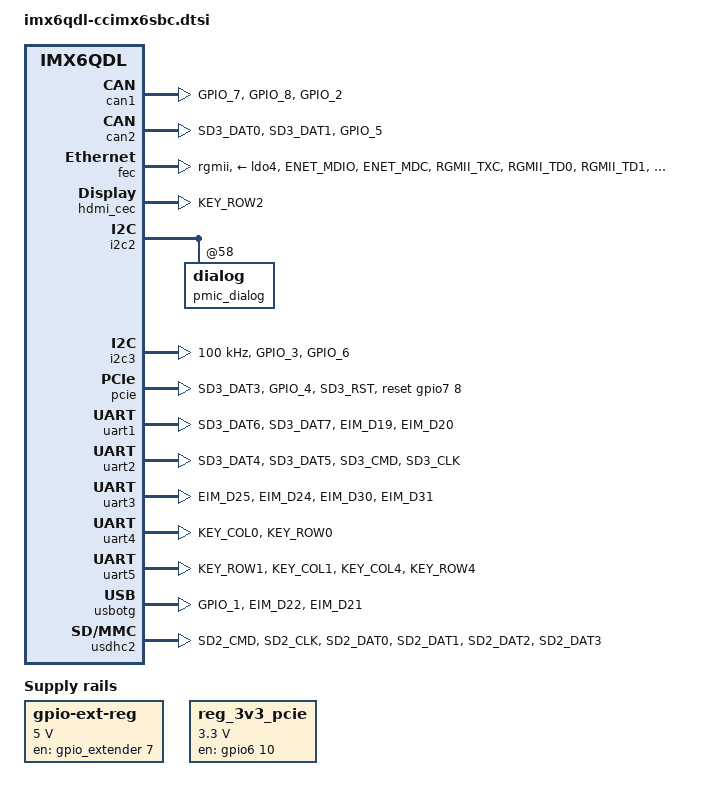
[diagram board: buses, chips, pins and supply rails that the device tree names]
/*
 * Copyright 2014 Digi International, Inc.
 *
 * The code contained herein is licensed under the GNU General Public
 * License. You may obtain a copy of the GNU General Public License
 * Version 2 or later at the following locations:
 *
 * http://www.opensource.org/licenses/gpl-license.html
 * http://www.gnu.org/copyleft/gpl.html
 */

/ {
	5v_reg {
		compatible = "regulator-fixed";
		gpio = <&gpio_extender 7 0>;
		regulator-name = "gpio-ext-reg";
		regulator-always-on;
		enable-active-high;
		regulator-min-microvolt = <5000000>;
		regulator-max-microvolt = <5000000>;
	};

	/* SGTL5000 codec is powered by 3V3 BUCK_PERI, but controlled
	 * by GPIO2_25 via a FET transistor
	 */
	codec_power: fixedregulator@0 {
		compatible = "regulator-fixed";
		regulator-name = "aud_pwr_en";
		regulator-min-microvolt = <3300000>;
		regulator-max-microvolt = <3300000>;
		gpio = <&gpio2 25 GPIO_ACTIVE_HIGH>;
		enable-active-high;
		vin-supply = <&bperi>;
		pinctrl-names = "default";
		pinctrl-0 = <&pinctrl_aud_pwr_en>;
		status = "disabled";
		regulator-state-mem {
			regulator-off-in-suspend;
		};
		regulator-state-disk {
			regulator-off-in-suspend;
		};
	};

	/* Parallel display */
	lcd: display@di0 {
		compatible = "fsl,lcd";
		ipu_id = <0>;
		disp_id = <0>;
		default_ifmt = "RGB666";
		pinctrl-names = "default";
		pinctrl-0 = <&pinctrl_ipu1_di0>, <&pinctrl_disp0_gpios>;
		status = "disabled";
	};

	mipi_dsi_reset: mipi-dsi-reset {
		compatible = "gpio-reset";
		reset-gpios = <&gpio6 11 GPIO_ACTIVE_LOW>;
		reset-delay-us = <50>;
		#reset-cells = <0>;
		status = "disabled";
	};

	mxcfb1: fb@0 {
		compatible = "fsl,mxc_sdc_fb";
		disp_dev = "hdmi";
		interface_pix_fmt = "RGB666";
		mode_str ="1920x1080M@60";
		default_bpp = <16>;
		int_clk = <0>;
		late_init = <0>;
		status = "disabled";
	};

	mxcfb2: fb@1 {
		compatible = "fsl,mxc_sdc_fb";
		disp_dev = "ldb";
		interface_pix_fmt = "RGB666";
		default_bpp = <16>;
		int_clk = <0>;
		late_init = <0>;
		status = "disabled";
	};

	reg_3v3_pcie: fixedregulator@1 {
		compatible = "regulator-fixed";
		pinctrl-names = "default";
		pinctrl-0 = <&pinctrl_pcie_reg>;
		regulator-name = "PCIe_VCC";
		regulator-always-on;
		startup-delay-us = <100000>;
		regulator-min-microvolt = <3300000>;
		regulator-max-microvolt = <3300000>;
		gpio = <&gpio6 10 GPIO_ACTIVE_HIGH>;
		enable-active-high;
		status = "okay";
	};

	sound_sgtl5000: sound-sgtl5000 {
		compatible = "fsl,imx-audio-sgtl5000";
		model = "sgtl5000-audio";
		ssi-controller = <&ssi2>;
		audio-codec = <&sgtl5000>;
		audio-routing =
			"MIC_IN", "Mic Jack",
			"Mic Jack", "Mic Bias",
			"Headphone Jack", "HP_OUT";
		mux-int-port = <2>;
		mux-ext-port = <3>;
		hp-det-gpios = <&gpio2 0 GPIO_ACTIVE_HIGH>;
		hp-det-debounce = <250>;
		status = "disabled";
	};

	sound_hdmi: sound-hdmi {
		compatible = "fsl,imx6q-audio-hdmi",
			     "fsl,imx-audio-hdmi";
		model = "imx-audio-hdmi";
		hdmi-controller = <&hdmi_audio>;
		status = "disabled";
	};

	v4l2_cap_0: v4l2-cap@0 {
		compatible = "fsl,imx6q-v4l2-capture";
		mclk_source = <0>;
		status = "disabled";
	};

	v4l2_cap_1: v4l2-cap@1 {
		compatible = "fsl,imx6q-v4l2-capture";
		mclk_source = <0>;
		status = "disabled";
	};

	v4l2_out: v4l2-out {
		compatible = "fsl,mxc_v4l2_output";
		status = "disabled";
	};
};

&audmux {
	pinctrl-names = "default";
	pinctrl-0 = <&pinctrl_audmux>;
};

&can1 {
	pinctrl-names = "default";
	pinctrl-0 = <&pinctrl_flexcan1>;
	stby-gpios = <&gpio1 2 GPIO_ACTIVE_HIGH>;
};

&can2 {
	pinctrl-names = "default";
	pinctrl-0 = <&pinctrl_flexcan2>;
	stby-gpios = <&gpio1 5 GPIO_ACTIVE_HIGH>;
};

&clks {
	assigned-clocks = <&clks IMX6QDL_CLK_LDB_DI0_SEL>,
			  <&clks IMX6QDL_CLK_LDB_DI1_SEL>;
	assigned-clock-parents = <&clks IMX6QDL_CLK_PLL5_VIDEO_DIV>,
				 <&clks IMX6QDL_CLK_PLL5_VIDEO_DIV>;
	assigned-clock-rates = <0>, <0>;
};

&ecspi1 {
	fsl,spi-num-chipselects = <2>;
	cs-gpios = <&gpio2 30 GPIO_ACTIVE_HIGH>,<&gpio4 10 GPIO_ACTIVE_HIGH>;
	pinctrl-names = "default";
	pinctrl-0 = <&pinctrl_ecspi1>;
	status = "disabled";
};

/* 10/100/1000 KSZ9031 PHY */
&fec {
	pinctrl-names = "default";
	pinctrl-0 = <&pinctrl_enet>;
	phy-mode = "rgmii";
	phy-reset-gpios = <&gpio1 25 GPIO_ACTIVE_HIGH>;
	phy-reset-duration = <10>;
	phy-reset-wait = <1>;
	phy-supply = <&ldo4>;
	fsl,magic-packet;
};

&gpc {
	fsl,cpu_pupscr_sw2iso = <0xf>;
	fsl,cpu_pupscr_sw = <0xf>;
	fsl,cpu_pdnscr_iso2sw = <0x1>;
	fsl,cpu_pdnscr_iso = <0x1>;
	fsl,ldo-bypass = <0>; /* No ldo-bypass */
	fsl,wdog-reset = <1>; /* watchdog select of reset source */
	pu-supply = <&reg_pu>;
};

&hdmi_cec {
	pinctrl-names = "default";
	pinctrl-0 = <&pinctrl_hdmi_cec>;
};

&hdmi_core {
	ipu_id = <0>;
	disp_id = <1>;
};

&hdmi_video {
	fsl,phy_reg_vlev = <0x0294>;
	fsl,phy_reg_cksymtx = <0x800d>;
};

&ldb {
	lvds-channel@0 {
		fsl,data-mapping = "spwg";
		fsl,data-width = <18>;

		display-timings {
			native-mode = <&g101evn010_1>;

			/* Fusion 10" F10A-0102 */
			hsd101pfw2_1: timing@0 {
				clock-frequency = <45000000>;
				hactive = <1024>;
				vactive = <600>;
				hfront-porch = <0>;
				hback-porch = <0>;
				hsync-len = <176>;
				vback-porch = <0>;
				vfront-porch = <0>;
				vsync-len = <25>;
			};

			/* AUO G101EVN01.0 */
			g101evn010_1: timing@1 {
				clock-frequency = <68930000>;
				hactive = <1280>;
				vactive = <800>;
				hfront-porch = <120>;
				hback-porch = <0>;
				hsync-len = <8>;
				vback-porch = <10>;
				vfront-porch = <0>;
				vsync-len = <6>;
				hsync-active = <1>;
				vsync-active = <1>;
				de-active = <1>;
				pixelclk-active = <0>;
			};
		};
	};
	lvds-channel@1 {
		fsl,data-mapping = "spwg";
		fsl,data-width = <18>;

		display-timings {
			native-mode = <&g101evn010_2>;

			/* Fusion 10" F10A-0102 */
			hsd101pfw2_2: timing@0 {
				clock-frequency = <45000000>;
				hactive = <1024>;
				vactive = <600>;
				hfront-porch = <0>;
				hback-porch = <0>;
				hsync-len = <176>;
				vback-porch = <0>;
				vfront-porch = <2>;
				vsync-len = <23>;
			};

			/* AUO G101EVN01.0 */
			g101evn010_2: timing@1 {
				clock-frequency = <68930000>;
				hactive = <1280>;
				vactive = <800>;
				hfront-porch = <120>;
				hback-porch = <0>;
				hsync-len = <8>;
				vback-porch = <10>;
				vfront-porch = <0>;
				vsync-len = <6>;
				hsync-active = <1>;
				vsync-active = <1>;
				de-active = <1>;
				pixelclk-active = <0>;
			};
		};
	};

};

&i2c2 {
	pmic_dialog: dialog@58 {
		leds {
			compatible = "dlg,da9063-leds";

			lvds0-backlight@0xc6 {
				dlg,led-gpio-reg = <0x1a 0xf0>;
				dlg,led-reg = <0xc6>;
				/*
				 * If using the latest Video Adapter Board
				 * uncomment to invert the backlight polarity
				 */
				//dlg,inverse-polarity;
				linux,default-trigger = "backlight";
			};

			lvds1-backlight@0xc6 {
				dlg,led-gpio-reg = <0x1c 0xf0>;
				dlg,led-reg = <0xc8>;
				/*
				 * If using the latest Video Adapter Board
				 * uncomment to invert the backlight polarity
				 */
				//dlg,inverse-polarity;
				linux,default-trigger = "backlight";
			};
		};
	};
};

&i2c3 {
	clock-frequency = <100000>;
	pinctrl-names = "default";
	pinctrl-0 = <&pinctrl_i2c3>;

	edid@50 {
		compatible = "fsl,imx6-hdmi-i2c";
		reg = <0x50>;
		status = "disabled";
	};

	fusion@14 {
		compatible = "touchrev,fusion-touch";
		reg = <0x14>;
		/* Interrupt for LVDS0 */
		interrupt-parent = <&gpio7>;
		interrupts = <11 1>;
		/* Interrupt for LVDS1 */
		//interrupt-parent = <&gpio3>;
		//interrupts = <23 1>;
		/* Interrupt for parallel LCD */
		//interrupt-parent = <&gpio2>;
		//interrupts = <1 1>;
		status = "disabled";
	};

	goodix_touch: gt911@14 {
		compatible = "goodix,gt9271";
		reg = <0x14>;
		/* Interrupt for LVDS0 */
		interrupt-parent = <&gpio7>;
		interrupts = <11 IRQ_TYPE_EDGE_RISING>;
		irq-gpios = <&gpio7 11 GPIO_ACTIVE_HIGH>;
		/* Interrupt for LVDS1 */
		//interrupt-parent = <&gpio3>;
		//interrupts = <23 IRQ_TYPE_EDGE_RISING>;
		//irq-gpios = <&gpio3 23 GPIO_ACTIVE_HIGH>;
		skip-firmware-request;
		status = "disabled";
	};

	/* MIPI-CSI2 camera */
	ov5640_mipi: ov5640_mipi@3c {
		compatible = "ovti,ov564x_mipi";
		reg = <0x3c>;
		pinctrl-names = "default";
		pinctrl-0 = <&pinctrl_mipi>;
		clocks = <&clks 201>;
		clock-names = "csi_mclk";
		pwn-gpios = <&gpio7 6 GPIO_ACTIVE_LOW>;
		digi,alt-pwn-gpios = <&gpio5 0 GPIO_ACTIVE_LOW
				      &gpio3 15 GPIO_ACTIVE_LOW>;
		mclk = <24000000>;
		mclk_source = <0>;
		status = "disabled";
	};

	/* Parallel camera CSI0 */
	ov5642_1: ov5642_1@5c {
		compatible = "ovti,ov564x";
		reg = <0x5c>;
		pinctrl-names = "default";
		pinctrl-0 = <&pinctrl_ipu1_1>;
		clocks = <&clks 201>;
		clock-names = "csi_mclk";
		pwn-gpios = <&gpio5 0 GPIO_ACTIVE_LOW>;
		digi,alt-pwn-gpios = <&gpio7 6 1>;
		csi_id = <0>;
		ipu_id = <0>;
		mclk = <24000000>;
		mclk_source = <0>;
		digi,defer-probe;
		status = "disabled";
	};

	sgtl5000: codec@a {
		compatible = "fsl,sgtl5000";
		reg = <0x0a>;
		clock-frequency = <24000000>;
		clocks = <&clks 201>;
		VDDA-supply = <&codec_power>;
		VDDIO-supply = <&codec_power>;
		status = "disabled";
	};
};

&iomuxc {
	pinctrl-names = "default";
	pinctrl-0 = <&pinctrl_hog>;

	audmux {
		pinctrl_audmux: audmux {
			fsl,pins = <
				MX6QDL_PAD_CSI0_DAT7__AUD3_RXD  0x130b0
				MX6QDL_PAD_CSI0_DAT4__AUD3_TXC  0x130b0
				MX6QDL_PAD_CSI0_DAT5__AUD3_TXD  0x110b0
				MX6QDL_PAD_CSI0_DAT6__AUD3_TXFS 0x130b0
			>;
		};
	};

	aud_pwr_en {
		pinctrl_aud_pwr_en: aud_pwr_en {
			fsl,pins = <

				MX6QDL_PAD_EIM_OE__GPIO2_IO25 0x80000000
			>;
		};
	};

	can1 {
		pinctrl_flexcan1: can1 {
			fsl,pins = <
				MX6QDL_PAD_GPIO_7__FLEXCAN1_TX 0x1b0b0
				MX6QDL_PAD_GPIO_8__FLEXCAN1_RX 0x1b0b0
				MX6QDL_PAD_GPIO_2__GPIO1_IO02  0x1b0b0
			>;
		};
	};

	can2 {
		pinctrl_flexcan2: can2 {
			fsl,pins = <
				MX6QDL_PAD_SD3_DAT0__FLEXCAN2_TX 0x1b0b0
				MX6QDL_PAD_SD3_DAT1__FLEXCAN2_RX 0x1b0b0
				MX6QDL_PAD_GPIO_5__GPIO1_IO05    0x1b0b0
			>;
		};
	};

	ecspi1 {
		pinctrl_ecspi1: ecspi1 {
			fsl,pins = <
				MX6QDL_PAD_EIM_D17__ECSPI1_MISO 0x100b1
				MX6QDL_PAD_EIM_D18__ECSPI1_MOSI 0x100b1
				MX6QDL_PAD_EIM_D16__ECSPI1_SCLK 0x100b1
				MX6QDL_PAD_EIM_EB2__GPIO2_IO30  0x100b1
				MX6QDL_PAD_KEY_COL2__GPIO4_IO10 0x100b1
				MX6QDL_PAD_EIM_CS0__GPIO2_IO23  0x100b1
			>;
		};
	};

	enet {
		pinctrl_enet: enet {
			fsl,pins = <
				MX6QDL_PAD_ENET_MDIO__ENET_MDIO       0x1b0b0
				MX6QDL_PAD_ENET_MDC__ENET_MDC         0x1b0b0
				MX6QDL_PAD_RGMII_TXC__RGMII_TXC       0x1b0b0
				MX6QDL_PAD_RGMII_TD0__RGMII_TD0       0x1b0b0
				MX6QDL_PAD_RGMII_TD1__RGMII_TD1       0x1b0b0
				MX6QDL_PAD_RGMII_TD2__RGMII_TD2       0x1b0b0
				MX6QDL_PAD_RGMII_TD3__RGMII_TD3       0x1b0b0
				MX6QDL_PAD_RGMII_TX_CTL__RGMII_TX_CTL 0x1b0b0
				MX6QDL_PAD_ENET_REF_CLK__ENET_TX_CLK  0x1b0b0
				MX6QDL_PAD_RGMII_RXC__RGMII_RXC       0x1b0b0
				MX6QDL_PAD_RGMII_RD0__RGMII_RD0       0x1b0b0
				MX6QDL_PAD_RGMII_RD1__RGMII_RD1       0x1b0b0
				MX6QDL_PAD_RGMII_RD2__RGMII_RD2       0x1b0b0
				MX6QDL_PAD_RGMII_RD3__RGMII_RD3       0x1b0b0
				MX6QDL_PAD_RGMII_RX_CTL__RGMII_RX_CTL 0x1b0b0
				MX6QDL_PAD_ENET_REF_CLK__ENET_TX_CLK  0x1b0b0
				MX6QDL_PAD_ENET_TX_EN__GPIO1_IO28     0x1b0b0
				MX6QDL_PAD_ENET_CRS_DV__GPIO1_IO25    0x1b0b0
			>;
		};
	};

	hdmi_cec {
		pinctrl_hdmi_cec: hdmicec {
			fsl,pins = <
				MX6QDL_PAD_KEY_ROW2__HDMI_TX_CEC_LINE 0x1f8b0
			>;
		};
	};

	i2c2 {
		pinctrl_i2c2: i2c2 {
			fsl,pins = <
				MX6QDL_PAD_KEY_COL3__I2C2_SCL 0x4001b8b1
				MX6QDL_PAD_KEY_ROW3__I2C2_SDA 0x4001b8b1
			>;
		};
	};

	i2c3 {
		pinctrl_i2c3: i2c3 {
			fsl,pins = <
				MX6QDL_PAD_GPIO_3__I2C3_SCL 0x4001b8b1
				MX6QDL_PAD_GPIO_6__I2C3_SDA 0x4001b8b1
			>;
		};
	};

	ipu1 {
		pinctrl_ipu1_1: ipu1grp-1 { /* parallel camera */
			fsl,pins = <
				MX6QDL_PAD_CSI0_DAT12__IPU1_CSI0_DATA12    0x80000000
				MX6QDL_PAD_CSI0_DAT13__IPU1_CSI0_DATA13    0x80000000
				MX6QDL_PAD_CSI0_DAT14__IPU1_CSI0_DATA14    0x80000000
				MX6QDL_PAD_CSI0_DAT15__IPU1_CSI0_DATA15    0x80000000
				MX6QDL_PAD_CSI0_DAT16__IPU1_CSI0_DATA16    0x80000000
				MX6QDL_PAD_CSI0_DAT17__IPU1_CSI0_DATA17    0x80000000
				MX6QDL_PAD_CSI0_DAT18__IPU1_CSI0_DATA18    0x80000000
				MX6QDL_PAD_CSI0_DAT19__IPU1_CSI0_DATA19    0x80000000
				MX6QDL_PAD_CSI0_PIXCLK__IPU1_CSI0_PIXCLK   0x0000a0b0
				MX6QDL_PAD_CSI0_MCLK__IPU1_CSI0_HSYNC      0x80000000
				MX6QDL_PAD_CSI0_VSYNC__IPU1_CSI0_VSYNC     0x80000000
				MX6QDL_PAD_EIM_WAIT__GPIO5_IO00            0x80000000
				MX6QDL_PAD_CSI0_DATA_EN__GPIO5_IO20	   0x80000000
			>;
		};

		/* Parallel display GPIOs */
		pinctrl_disp0_gpios: dispgpiogrp {
			fsl,pins = <
				/* Display IRQ */
				MX6QDL_PAD_NANDF_D1__GPIO2_IO01            0x80000000
				/* Display contrast */
				MX6QDL_PAD_DI0_PIN4__GPIO4_IO20            0x80000000
			>;
		};

		/* Parallel display */
		pinctrl_ipu1_di0: ipu1grp-2 {
			fsl,pins = <
				/* DISP0_CLK */
				MX6QDL_PAD_DI0_DISP_CLK__IPU1_DI0_DISP_CLK 0x10
				/* DISP0_DRDY */
				MX6QDL_PAD_DI0_PIN15__IPU1_DI0_PIN15       0x10
				/* Data bus */
				MX6QDL_PAD_DISP0_DAT0__IPU1_DISP0_DATA00   0x10
				MX6QDL_PAD_DISP0_DAT1__IPU1_DISP0_DATA01   0x10
				MX6QDL_PAD_DISP0_DAT2__IPU1_DISP0_DATA02   0x10
				MX6QDL_PAD_DISP0_DAT3__IPU1_DISP0_DATA03   0x10
				MX6QDL_PAD_DISP0_DAT4__IPU1_DISP0_DATA04   0x10
				MX6QDL_PAD_DISP0_DAT5__IPU1_DISP0_DATA05   0x10
				MX6QDL_PAD_DISP0_DAT6__IPU1_DISP0_DATA06   0x10
				MX6QDL_PAD_DISP0_DAT7__IPU1_DISP0_DATA07   0x10
				MX6QDL_PAD_DISP0_DAT8__IPU1_DISP0_DATA08   0x10
				MX6QDL_PAD_DISP0_DAT9__IPU1_DISP0_DATA09   0x10
				MX6QDL_PAD_DISP0_DAT10__IPU1_DISP0_DATA10  0x10
				MX6QDL_PAD_DISP0_DAT11__IPU1_DISP0_DATA11  0x10
				MX6QDL_PAD_DISP0_DAT12__IPU1_DISP0_DATA12  0x10
				MX6QDL_PAD_DISP0_DAT13__IPU1_DISP0_DATA13  0x10
				MX6QDL_PAD_DISP0_DAT14__IPU1_DISP0_DATA14  0x10
				MX6QDL_PAD_DISP0_DAT15__IPU1_DISP0_DATA15  0x10
				MX6QDL_PAD_DISP0_DAT16__IPU1_DISP0_DATA16  0x10
				MX6QDL_PAD_DISP0_DAT17__IPU1_DISP0_DATA17  0x10
				MX6QDL_PAD_DISP0_DAT18__IPU1_DISP0_DATA18  0x10
				MX6QDL_PAD_DISP0_DAT19__IPU1_DISP0_DATA19  0x10
				MX6QDL_PAD_DISP0_DAT20__IPU1_DISP0_DATA20  0x10
				MX6QDL_PAD_DISP0_DAT21__IPU1_DISP0_DATA21  0x10
				MX6QDL_PAD_DISP0_DAT22__IPU1_DISP0_DATA22  0x10
				MX6QDL_PAD_DISP0_DAT23__IPU1_DISP0_DATA23  0x10
			>;
		};
	};

	mipi {
		pinctrl_mipi: mipi {
			fsl,pins = <
				MX6QDL_PAD_SD3_DAT2__GPIO7_IO06 0x80000000
			>;
		};
	};

	pinctrl_pcie_reg: pciereggrp {
		fsl,pins = <
			MX6QDL_PAD_NANDF_RB0__GPIO6_IO10 0x80000000
		>;
	};

	pcie {
		pinctrl_pcie: pcie {
			fsl,pins = <
				MX6QDL_PAD_SD3_DAT3__GPIO7_IO07 0x80000000
				MX6QDL_PAD_GPIO_4__GPIO1_IO04   0x80000000
				MX6QDL_PAD_SD3_RST__GPIO7_IO08 0x80000000
			>;
		};
	};

	pwm1 {
		pinctrl_pwm1: pwm4grp {
			fsl,pins = <
				MX6QDL_PAD_DISP0_DAT8__PWM1_OUT 0x110b0
			>;
		};
	};

	uart1 {
		pinctrl_uart1: uart1 {
			fsl,pins = <
				MX6QDL_PAD_SD3_DAT6__UART1_RX_DATA 0x1b0b1
				MX6QDL_PAD_SD3_DAT7__UART1_TX_DATA 0x1b0b1
				MX6QDL_PAD_EIM_D19__UART1_CTS_B 0x1b0b1
				MX6QDL_PAD_EIM_D20__UART1_RTS_B 0x1b0b1
			>;
		};
	};

	uart2 {
		pinctrl_uart2: uart2 {
			fsl,pins = <
				MX6QDL_PAD_SD3_DAT4__UART2_RX_DATA   0x1b0b1
				MX6QDL_PAD_SD3_DAT5__UART2_TX_DATA   0x1b0b1
				MX6QDL_PAD_SD3_CMD__UART2_CTS_B      0x1b0b1
				MX6QDL_PAD_SD3_CLK__UART2_RTS_B       0x1b0b1
			>;
		};
	};

	uart3 {
		pinctrl_uart3: uart3 {
			fsl,pins = <
				MX6QDL_PAD_EIM_D25__UART3_RX_DATA 0x1b0b1
				MX6QDL_PAD_EIM_D24__UART3_TX_DATA 0x1b0b1
				MX6QDL_PAD_EIM_D30__UART3_CTS_B   0x1b0b1
				MX6QDL_PAD_EIM_D31__UART3_RTS_B   0x1b0b1
			>;
		};
	};

	uart4 {
		pinctrl_uart4: uart4 {
			fsl,pins = <
				MX6QDL_PAD_KEY_COL0__UART4_TX_DATA 0x1b0b1
				MX6QDL_PAD_KEY_ROW0__UART4_RX_DATA 0x1b0b1
			>;
		};
	};

	uart5 {
		pinctrl_uart5: uart5 {
			fsl,pins = <
				MX6QDL_PAD_KEY_ROW1__UART5_RX_DATA 0x1b0b1
				MX6QDL_PAD_KEY_COL1__UART5_TX_DATA 0x1b0b1
				MX6QDL_PAD_KEY_COL4__UART5_RTS_B   0x1b0b1
				MX6QDL_PAD_KEY_ROW4__UART5_CTS_B   0x1b0b1
			>;
		};
	};

	usbotg {
		pinctrl_usbotg: usbotg {
			fsl,pins = <
				MX6QDL_PAD_GPIO_1__USB_OTG_ID 0x17059
				MX6QDL_PAD_EIM_D22__USB_OTG_PWR 0x17059
				MX6QDL_PAD_EIM_D21__USB_OTG_OC 0x17059
			>;
		};
	};

	usdhc1 {
		pinctrl_usdhc1: usdhc1 {
			fsl,pins = <
				MX6QDL_PAD_SD1_CMD__SD1_CMD    0x17071
				MX6QDL_PAD_SD1_CLK__SD1_CLK    0x10071
				MX6QDL_PAD_SD1_DAT0__SD1_DATA0 0x17071
				MX6QDL_PAD_SD1_DAT1__SD1_DATA1 0x17071
				MX6QDL_PAD_SD1_DAT2__SD1_DATA2 0x17071
				MX6QDL_PAD_SD1_DAT3__SD1_DATA3 0x17071
			>;
		};

		pinctrl_usdhc1_100mhz: usdhc1-100mhz {
			fsl,pins = <
				MX6QDL_PAD_SD1_CMD__SD1_CMD    0x170B1
				MX6QDL_PAD_SD1_CLK__SD1_CLK    0x100B1
				MX6QDL_PAD_SD1_DAT0__SD1_DATA0 0x170B1
				MX6QDL_PAD_SD1_DAT1__SD1_DATA1 0x170B1
				MX6QDL_PAD_SD1_DAT2__SD1_DATA2 0x170B1
				MX6QDL_PAD_SD1_DAT3__SD1_DATA3 0x170B1
			>;
		};

		pinctrl_usdhc1_200mhz: usdhc1-200mhz {
			fsl,pins = <
				MX6QDL_PAD_SD1_CMD__SD1_CMD    0x170F1
				MX6QDL_PAD_SD1_CLK__SD1_CLK    0x100F1
				MX6QDL_PAD_SD1_DAT0__SD1_DATA0 0x170F1
				MX6QDL_PAD_SD1_DAT1__SD1_DATA1 0x170F1
				MX6QDL_PAD_SD1_DAT2__SD1_DATA2 0x170F1
				MX6QDL_PAD_SD1_DAT3__SD1_DATA3 0x170F1
			>;
		};
	};

	usdhc2 {
		pinctrl_usdhc2: usdhc2 {
			fsl,pins = <
				MX6QDL_PAD_SD2_CMD__SD2_CMD    0x17071
				MX6QDL_PAD_SD2_CLK__SD2_CLK    0x10071
				MX6QDL_PAD_SD2_DAT0__SD2_DATA0 0x17071
				MX6QDL_PAD_SD2_DAT1__SD2_DATA1 0x17071
				MX6QDL_PAD_SD2_DAT2__SD2_DATA2 0x17071
				MX6QDL_PAD_SD2_DAT3__SD2_DATA3 0x17071
			>;
		};

		pinctrl_usdhc2_100mhz: usdhc2-100mhz {
			fsl,pins = <
				MX6QDL_PAD_SD2_CMD__SD2_CMD    0x170B1
				MX6QDL_PAD_SD2_CLK__SD2_CLK    0x100B1
				MX6QDL_PAD_SD2_DAT0__SD2_DATA0 0x170B1
				MX6QDL_PAD_SD2_DAT1__SD2_DATA1 0x170B1
				MX6QDL_PAD_SD2_DAT2__SD2_DATA2 0x170B1
				MX6QDL_PAD_SD2_DAT3__SD2_DATA3 0x170B1
			>;
		};

		pinctrl_usdhc2_200mhz: usdhc2-200mhz {
			fsl,pins = <
				MX6QDL_PAD_SD2_CMD__SD2_CMD    0x170F1
				MX6QDL_PAD_SD2_CLK__SD2_CLK    0x100F1
				MX6QDL_PAD_SD2_DAT0__SD2_DATA0 0x170F1
				MX6QDL_PAD_SD2_DAT1__SD2_DATA1 0x170F1
				MX6QDL_PAD_SD2_DAT2__SD2_DATA2 0x170F1
				MX6QDL_PAD_SD2_DAT3__SD2_DATA3 0x170F1
			>;
		};
	};

	usdhc4 {
		pinctrl_usdhc4: usdhc4 {
			  fsl,pins = <
				  MX6QDL_PAD_SD4_CMD__SD4_CMD    0x17059
				  MX6QDL_PAD_SD4_CLK__SD4_CLK    0x10059
				  MX6QDL_PAD_SD4_DAT0__SD4_DATA0 0x17059
				  MX6QDL_PAD_SD4_DAT1__SD4_DATA1 0x17059
				  MX6QDL_PAD_SD4_DAT2__SD4_DATA2 0x17059
				  MX6QDL_PAD_SD4_DAT3__SD4_DATA3 0x17059
				  MX6QDL_PAD_SD4_DAT4__SD4_DATA4 0x17059
				  MX6QDL_PAD_SD4_DAT5__SD4_DATA5 0x17059
				  MX6QDL_PAD_SD4_DAT6__SD4_DATA6 0x17059
				  MX6QDL_PAD_SD4_DAT7__SD4_DATA7 0x17059
				  >;
		  };

		pinctrl_usdhc4_100mhz: usdhc4-100mhz {
			fsl,pins = <
				MX6QDL_PAD_SD4_CMD__SD4_CMD    0x170B9
				MX6QDL_PAD_SD4_CLK__SD4_CLK    0x100B9
				MX6QDL_PAD_SD4_DAT0__SD4_DATA0 0x170B9
				MX6QDL_PAD_SD4_DAT1__SD4_DATA1 0x170B9
				MX6QDL_PAD_SD4_DAT2__SD4_DATA2 0x170B9
				MX6QDL_PAD_SD4_DAT3__SD4_DATA3 0x170B9
				MX6QDL_PAD_SD4_DAT4__SD4_DATA4 0x170B9
				MX6QDL_PAD_SD4_DAT5__SD4_DATA5 0x170B9
				MX6QDL_PAD_SD4_DAT6__SD4_DATA6 0x170B9
				MX6QDL_PAD_SD4_DAT7__SD4_DATA7 0x170B9
			>;
		};

		pinctrl_usdhc4_200mhz: usdhc4-200mhz {
			fsl,pins = <
				MX6QDL_PAD_SD4_CMD__SD4_CMD    0x170F9
				MX6QDL_PAD_SD4_CLK__SD4_CLK    0x100F9
				MX6QDL_PAD_SD4_DAT0__SD4_DATA0 0x170F9
				MX6QDL_PAD_SD4_DAT1__SD4_DATA1 0x170F9
				MX6QDL_PAD_SD4_DAT2__SD4_DATA2 0x170F9
				MX6QDL_PAD_SD4_DAT3__SD4_DATA3 0x170F9
				MX6QDL_PAD_SD4_DAT4__SD4_DATA4 0x170F9
				MX6QDL_PAD_SD4_DAT5__SD4_DATA5 0x170F9
				MX6QDL_PAD_SD4_DAT6__SD4_DATA6 0x170F9
				MX6QDL_PAD_SD4_DAT7__SD4_DATA7 0x170F9
			>;
		};
	};

	hog {
		pinctrl_hog: hog {
			fsl,pins = <
				/* AUD_HP_DET */
				MX6QDL_PAD_NANDF_D0__GPIO2_IO00 0x80000000
				/* USER_LED0 */
				MX6QDL_PAD_NANDF_D2__GPIO2_IO02 0x80000000
				/* USER_LED1 */
				MX6QDL_PAD_NANDF_D3__GPIO2_IO03 0x80000000
				/* CHRG_UOK_N */
				MX6QDL_PAD_NANDF_ALE__GPIO6_IO08 0x80000000
				/* CHRG_FAULT_N */
				MX6QDL_PAD_NANDF_CS2__GPIO6_IO15 0x80000000
				/* CHRG_DOK_N */
				MX6QDL_PAD_NANDF_CS3__GPIO6_IO16 0x80000000
				/* LVDS0_PEN_IRQ_N */
				MX6QDL_PAD_GPIO_16__GPIO7_IO11	 0x80000000
				/* LVDS1_PEN_IRQ_N */
				MX6QDL_PAD_EIM_D23__GPIO3_IO23 0x80000000
				/* AUD_CLK / CSI0_MCLK / CSI1_MCLK */
				MX6QDL_PAD_GPIO_0__CCM_CLKO1    0x130b0
				/* DSI_RESET */
				MX6QDL_PAD_EIM_D26__GPIO3_IO26 0x80000000
				/* BT_DISABLE_N */
				MX6QDL_PAD_GPIO_9__GPIO1_IO09 0x80000000
				/* USB_HUB_RESET_N */
				MX6QDL_PAD_EIM_DA10__GPIO3_IO10 0x80000000
				/* XBEE_ON / SLEEP_N  */
				MX6QDL_PAD_EIM_D27__GPIO3_IO27 0x80000000
				/* XBEE_RESET_N  */
				MX6QDL_PAD_EIM_D28__GPIO3_IO28 0x80000000
				/* XBEE_SLEEP_RQ  */
				MX6QDL_PAD_EIM_D29__GPIO3_IO29 0x80000000
				/* EXP_GPIO_0 */
				MX6QDL_PAD_NANDF_D5__GPIO2_IO05 0x80000000
				/* EXP_GPIO_1 */
				MX6QDL_PAD_NANDF_D6__GPIO2_IO06 0x80000000
				/* EXP_GPIO_2 */
				MX6QDL_PAD_NANDF_D7__GPIO2_IO07 0x80000000
				/* EXP_GPIO_3 */
				MX6QDL_PAD_EIM_CS1__GPIO2_IO24 0x80000000
				/* EXP_GPIO_4 */
				MX6QDL_PAD_EIM_EB0__GPIO2_IO28 0x80000000
				/* EXP_GPIO_5 */
				MX6QDL_PAD_EIM_EB1__GPIO2_IO29 0x80000000
				/* EXP_GPIO_6 */
				MX6QDL_PAD_GPIO_18__GPIO7_IO13 0x80000000
				/* EXP_GPIO_7 */
				MX6QDL_PAD_GPIO_19__GPIO4_IO05 0x80000000
			>;
		};
	};
};

&mipi_csi {
	v_channel = <0>;
	lanes = <2>;
};

&mipi_dsi {
	lcd_panel = "TRULY-WVGA";
	resets = <&mipi_dsi_reset>;
};

&pcie {
	pinctrl-names = "default";
	pinctrl-0 = <&pinctrl_pcie>;
	reset-gpio = <&gpio7 8 GPIO_ACTIVE_HIGH>;
	wake-up-gpio = <&gpio7 7 GPIO_ACTIVE_HIGH>;
	disable-gpio = <&gpio1 4 GPIO_ACTIVE_HIGH>;
	vpcie-supply = <&reg_3v3_pcie>;
	status = "okay";
};

&pwm1 {
	pinctrl-names = "default";
	pinctrl-0 = <&pinctrl_pwm1>;
	status = "disabled";
};

&ssi2 {
	fsl,mode = "i2s-slave";
};

&uart1 {
	pinctrl-names = "default";
	pinctrl-0 = <&pinctrl_uart1>;
	uart-has-rtscts;
	digi,pwr-en-gpio = <&gpio2 26 GPIO_ACTIVE_HIGH>;
};

&uart2 {
	pinctrl-names = "default";
	pinctrl-0 = <&pinctrl_uart2>;
	uart-has-rtscts;
};

&uart3 {
	pinctrl-names = "default";
	pinctrl-0 = <&pinctrl_uart3>;
	uart-has-rtscts;
	digi,pwr-en-gpio = <&gpio2 26 GPIO_ACTIVE_HIGH>;
};

&uart4 {
	pinctrl-names = "default";
	pinctrl-0 = <&pinctrl_uart4>;
};

&uart5 {
	pinctrl-names = "default";
	pinctrl-0 = <&pinctrl_uart5>;
	uart-has-rtscts;
};

&usbh1 {
	fsl,reset-gpio = <&gpio3 10 GPIO_ACTIVE_HIGH>;
};

&usbotg {
	pinctrl-names = "default";
	pinctrl-0 = <&pinctrl_usbotg>;
	digi,power-line-active-high;
};

&usdhc2 {
	pinctrl-names = "default", "state_100mhz", "state_200mhz";
	pinctrl-0 = <&pinctrl_usdhc2>;
	pinctrl-1 = <&pinctrl_usdhc2_100mhz>;
	pinctrl-2 = <&pinctrl_usdhc2_200mhz>;
	broken-cd;
	no-1-8-v;
	keep-power-in-suspend;
	enable-sdio-wakeup;
};
